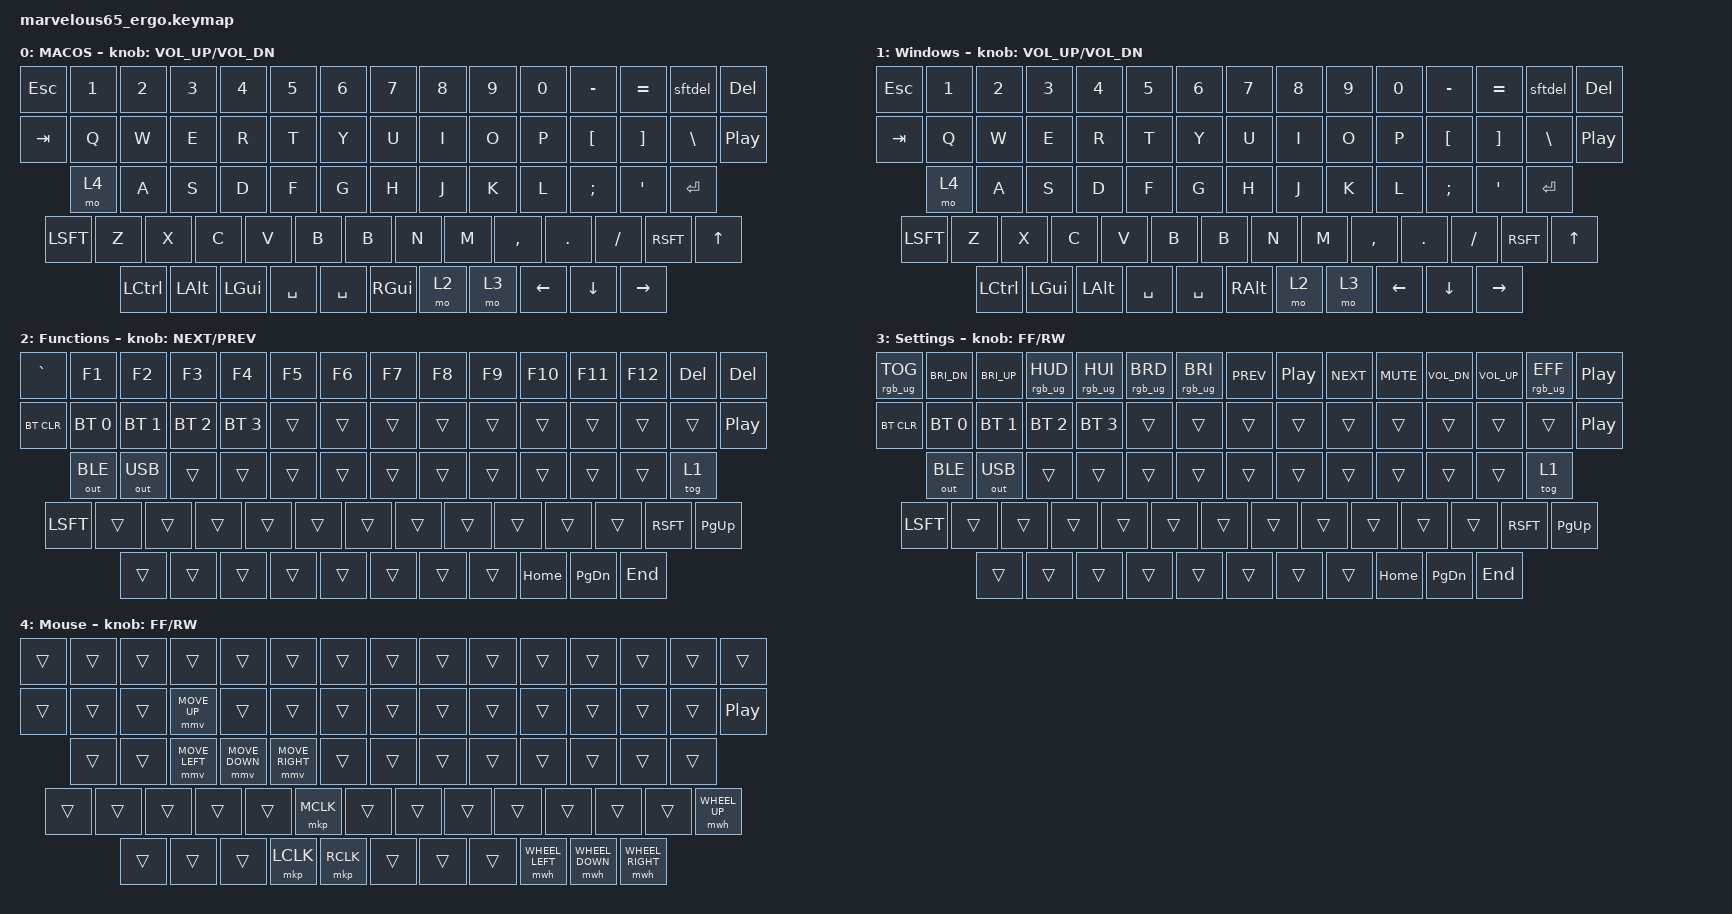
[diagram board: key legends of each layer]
/*
 * Copyright (c) 2020 The ZMK Contributors. test.
 *
 * SPDX-License-Identifier: MIT
 */

#include <behaviors.dtsi>
#include <dt-bindings/zmk/keys.h>
#include <dt-bindings/zmk/bt.h>
#include <dt-bindings/zmk/outputs.h>
#include <dt-bindings/zmk/mouse.h>
#include <dt-bindings/zmk/rgb.h>

/ {
	
	behaviors {
        sftdel: shift_del {
            compatible = "zmk,behavior-mod-morph";
            label = "SHIFT_DEL";
            #binding-cells = <0>;
			bindings = <&kp BKSP>, <&kp DEL>;
        	mods = <(MOD_LSFT|MOD_RSFT)>;
        };
    };


	 keymap {
		compatible = "zmk,keymap";
		

		default_layer {
			label = "MACOS";

			bindings = <
	&kp ESC &kp NUM_1  &kp NUM_2 &kp NUM_3 &kp NUM_4 &kp NUM_5 &kp NUM_6 &kp NUM_7 &kp NUM_8 &kp NUM_9 &kp NUM_0 &kp MINUS &kp EQL  &sftdel &kp DEL
	&kp TAB  &kp   Q   &kp   W   &kp   E   &kp   R   &kp   T   &kp   Y   &kp   U   &kp   I   &kp   O   &kp   P   &kp LBKT &kp RBKT &kp BSLH &kp C_PP
	&mo 4  &kp   A   &kp   S   &kp   D   &kp   F   &kp   G   &kp   H   &kp   J   &kp   K   &kp   L   &kp  SCLN  &kp  QUOT        &kp RET
	&kp LSFT  &kp   Z   &kp   X   &kp   C   &kp   V   &kp   B &kp   B   &kp   N   &kp   M   &kp  CMMA &kp  DOT  &kp FSLH      &kp RSFT &kp UP 
	&kp LCTL &kp   LALT   &kp  LGUI   &kp SPC       &kp SPC     &kp  RGUI  &mo  2 &mo  3  &kp LEFT &kp DOWN &kp RIGHT 
			>;

			 sensor-bindings = <&inc_dec_kp C_VOL_UP C_VOL_DN>;
		
		};

			macos {
				label = "Windows";

		bindings = <
	&kp ESC &kp NUM_1  &kp NUM_2 &kp NUM_3 &kp NUM_4 &kp NUM_5 &kp NUM_6 &kp NUM_7 &kp NUM_8 &kp NUM_9 &kp NUM_0 &kp MINUS &kp EQL  &sftdel &kp DEL
	&kp TAB  &kp   Q   &kp   W   &kp   E   &kp   R   &kp   T   &kp   Y   &kp   U   &kp   I   &kp   O   &kp   P   &kp LBKT &kp RBKT &kp BSLH &kp C_PP
	&mo 4  &kp   A   &kp   S   &kp   D   &kp   F   &kp   G   &kp   H   &kp   J   &kp   K   &kp   L   &kp  SCLN  &kp  QUOT        &kp RET
	&kp LSFT  &kp   Z   &kp   X   &kp   C   &kp   V   &kp   B &kp   B   &kp   N   &kp   M   &kp  CMMA &kp  DOT  &kp FSLH      &kp RSFT &kp UP 
	&kp LCTL &kp   LGUI   &kp  LALT   &kp SPC       &kp SPC     &kp  RALT  &mo  2 &mo  3   &kp LEFT &kp DOWN &kp RIGHT 
			>;

			 sensor-bindings = <&inc_dec_kp C_VOL_UP C_VOL_DN>;
				
			 	
		};

		functions {
			label = "Functions";
            bindings = <

    &kp GRAVE &kp F1 &kp F2 &kp F3 &kp F4 &kp F5 &kp F6 &kp F7 &kp F8 &kp F9 &kp F10 &kp F11 &kp F12  &kp DEL &kp DEL
	&bt BT_CLR  &bt BT_SEL 0 &bt BT_SEL 1 &bt BT_SEL 2  &bt BT_SEL 3   &trans    &trans   &trans   &trans   &trans  &trans   &trans &trans &trans &kp C_PP
	&out OUT_BLE  &out OUT_USB   &trans   &trans   &trans   &trans   &trans   &trans  &trans   &trans   &trans  &trans        &tog 1
	&kp LSFT &trans  &trans   &trans   &trans   &trans &trans   &trans   &trans  &trans &trans  &trans      &kp RSFT &kp PG_UP 
	&trans &trans   &trans   &trans     &trans     &trans  &trans &trans   &kp HOME &kp PG_DN &kp END
			>;

			sensor-bindings = <&inc_dec_kp C_NEXT C_PREV>;
        };

		 settings {
			 label = "Settings";
            bindings = <
	
    &rgb_ug RGB_TOG &kp C_BRI_DN &kp C_BRI_UP &rgb_ug RGB_HUD &rgb_ug RGB_HUI    &rgb_ug RGB_BRD &rgb_ug RGB_BRI &kp C_PREV &kp C_PP &kp C_NEXT &kp K_MUTE &kp C_VOL_DN &kp C_VOL_UP  &rgb_ug RGB_EFF &kp C_PP
	&bt BT_CLR  &bt BT_SEL 0 &bt BT_SEL 1 &bt BT_SEL 2  &bt BT_SEL 3   &trans    &trans   &trans   &trans   &trans  &trans   &trans &trans &trans &kp C_PP
	&out OUT_BLE  &out OUT_USB   &trans   &trans   &trans   &trans   &trans   &trans  &trans   &trans   &trans  &trans        &tog 1
	&kp LSFT &trans  &trans   &trans   &trans   &trans &trans   &trans   &trans  &trans &trans  &trans      &kp RSFT &kp PG_UP 
	&trans &trans   &trans   &trans     &trans     &trans  &trans &trans   &kp HOME &kp PG_DN &kp END
			>;

			sensor-bindings = <&inc_dec_kp C_FF C_RW>;
        };

		mouse {
			 label = "Mouse";
            bindings = <
	
    &trans &trans &trans &trans &trans    &trans &trans &trans &trans &trans &trans &trans &trans  &trans &trans
	&trans  &trans &trans &mmv MOVE_UP  &trans   &trans    &trans   &trans   &trans   &trans  &trans   &trans &trans &trans &kp C_PP
	&trans  &trans   &mmv MOVE_LEFT &mmv MOVE_DOWN   &mmv MOVE_RIGHT   &trans   &trans   &trans  &trans   &trans   &trans  &trans        &trans
	&trans &trans  &trans   &trans   &trans   &mkp MCLK &trans   &trans   &trans  &trans &trans  &trans      &trans &mwh WHEEL_UP 
	&trans &trans   &trans   &mkp LCLK     &mkp RCLK     &trans  &trans &trans   &mwh WHEEL_LEFT &mwh WHEEL_DOWN &mwh WHEEL_RIGHT
			>;

			sensor-bindings = <&inc_dec_kp C_FF C_RW>;
        };


	

       
	};
};




